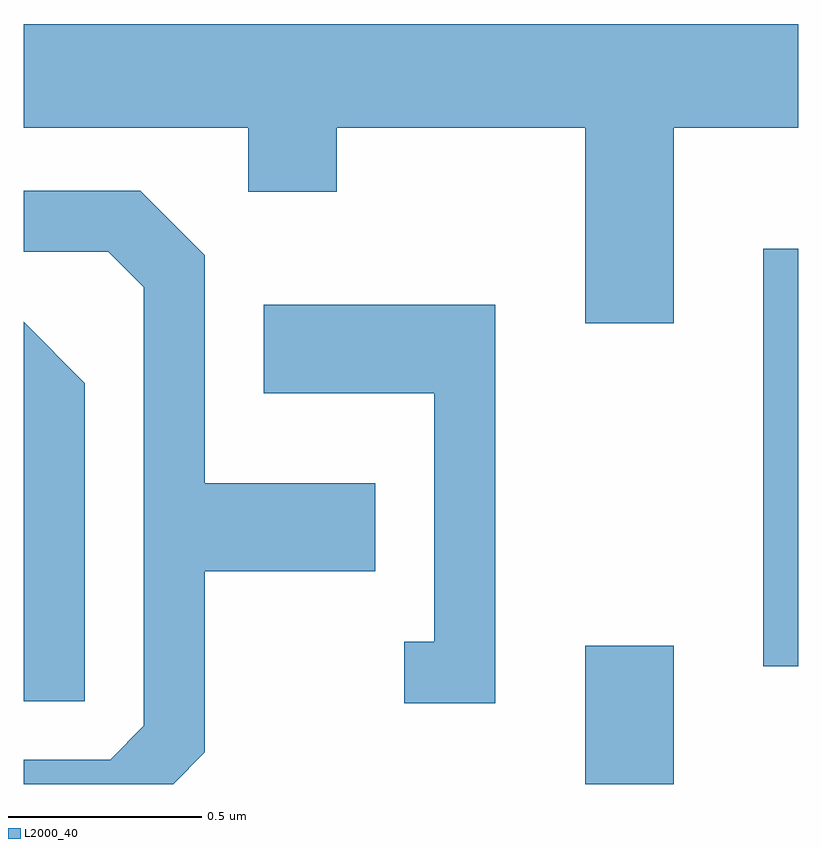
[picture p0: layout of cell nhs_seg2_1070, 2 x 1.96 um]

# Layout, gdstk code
import gdstk
lib = gdstk.Library(unit=1e-6, precision=1e-09)
def R(c, l, rs):  # rectangles x0, y0, x1, y1
    for r in rs: c.add(gdstk.rectangle(r[:2], r[2:], *l))
def P(c, l, *ps):  # polygons
    for p in ps: c.add(gdstk.Polygon(p, *l))
L2000_40 = (2000, 40)

nhs_seg2_1070 = lib.new_cell('nhs_seg2_1070')
R(nhs_seg2_1070, L2000_40, [(194.061,1088.802,194.289,1089.159), (194.521,1089.106,194.611,1090.184)])
P(nhs_seg2_1070, L2000_40, [(194.289,1090.496),(194.611,1090.496),(194.611,1090.764),(192.611,1090.764),(192.611,1090.496),(193.191,1090.496),(193.191,1090.331),(193.419,1090.331),(193.419,1090.496),(194.061,1090.496),(194.061,1089.991),(194.289,1089.991)],
  [(193.079,1088.884),(193.079,1089.351),(193.519,1089.351),(193.519,1089.579),(193.079,1089.579),(193.079,1090.167),(192.912,1090.334),(192.611,1090.334),(192.611,1090.176),(192.829,1090.176),(192.921,1090.084),(192.921,1088.952),(192.834,1088.864),(192.611,1088.864),(192.611,1088.802),(192.997,1088.802)],
  [(193.829,1090.039),(193.231,1090.039),(193.231,1089.811),(193.671,1089.811),(193.671,1089.169),(193.593,1089.169),(193.593,1089.011),(193.829,1089.011)],
  [(192.769,1089.837),(192.611,1089.995),(192.611,1089.016),(192.769,1089.016)])

lib.write_gds('nhs_seg2_1070.gds')
